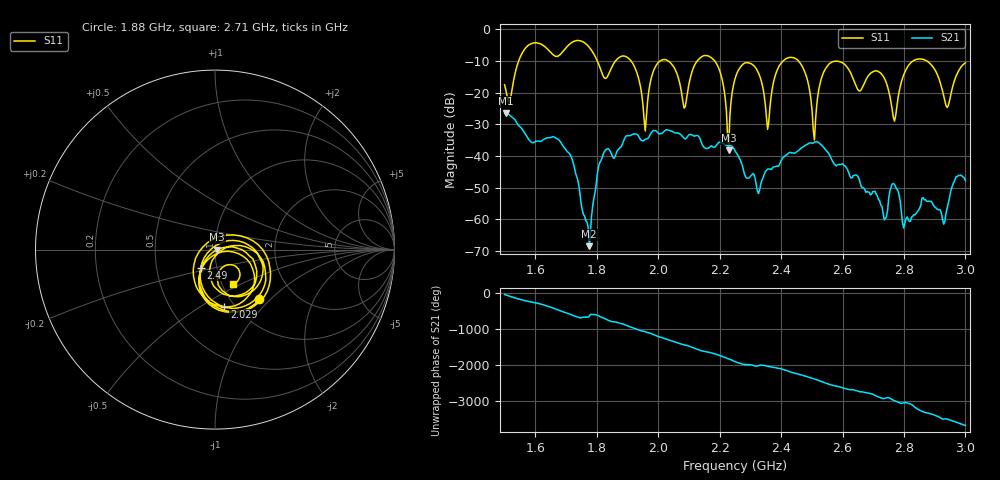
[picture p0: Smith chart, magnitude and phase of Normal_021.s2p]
# HZ S RI R 50
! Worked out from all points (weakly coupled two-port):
!   404 points, 1.5 GHz to 3 GHz, reference 50 ohm
!   highest |S21| = -26.57 dB at 1.504 GHz (marker M1); lowest = -68.4 dB at 1.775 GHz (marker M2)
!   lowest |S11| = -38.2 dB at 2.23 GHz (marker M3), VSWR 1.03, Z = 51.3 - j0.00544 ohm
!   |S11| at or under -10 dB: 2.183 GHz to 2.407 GHz (223.9 MHz wide, 9.75 % of centre); 2.456 GHz to 2.83 GHz (374.2 MHz wide, 14.2 % of centre); 2.874 GHz to end of sweep (the widest 3 of 7)
!   S12 and S22 are empty: the file has one direction only
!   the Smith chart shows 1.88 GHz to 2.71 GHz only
!   S11 on the Smith chart (normalised r, x): 1.88 GHz: 1.34, -0.86; 2.029 GHz: 0.89, -0.64; 2.49 GHz: 0.84, -0.17; 2.71 GHz: 1.13, -0.46
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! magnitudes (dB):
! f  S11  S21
! 1.5 GHz  -17.6  -26.6
! 1.504 GHz  -19.1  -26.6
! 1.679 GHz  -8.2  -35.2
! 1.753 GHz  -3.9  -57.1
! 1.775 GHz  -5.7  -68.4
! 1.88 GHz  -8.6  -37.1
! 1.958 GHz  -32.1  -34.7
! 2.002 GHz  -10.3  -33.0
! 2.029 GHz  -9.8  -31.8
! 2.084 GHz  -24.9  -34.4
! 2.177 GHz  -9.4  -37.1
! 2.23 GHz  -38.2  -36.7
! 2.252 GHz  -15.1  -38.7
! 2.326 GHz  -13.8  -51.8
! 2.356 GHz  -31.6  -44.2
! 2.412 GHz  -9.6  -40.1
! 2.49 GHz  -17.8  -36.0
! 2.501 GHz  -26.1  -36.0
! 2.561 GHz  -10.7  -40.3
! 2.71 GHz  -13.2  -52.1
! 2.751 GHz  -19.6  -53.2
! 3 GHz  -10.6  -47.8
